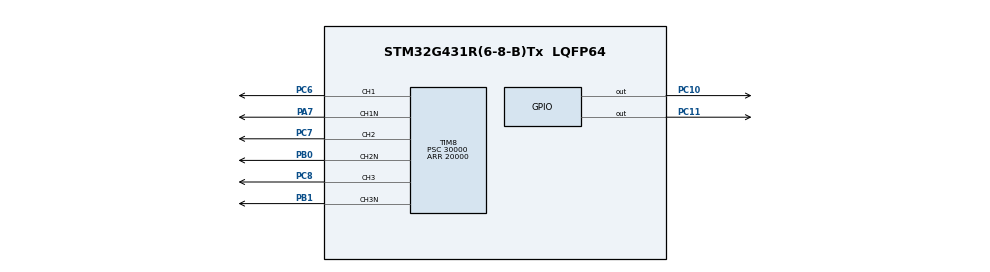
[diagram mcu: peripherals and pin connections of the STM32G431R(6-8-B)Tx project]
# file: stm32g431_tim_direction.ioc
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Dma.Request0=TIM8_CH4
Dma.TIM8_CH4.0.Direction=DMA_MEMORY_TO_PERIPH
Dma.TIM8_CH4.0.EventEnable=DISABLE
Dma.TIM8_CH4.0.Instance=DMA1_Channel1
Dma.TIM8_CH4.0.MemDataAlignment=DMA_MDATAALIGN_HALFWORD
Dma.TIM8_CH4.0.MemInc=DMA_MINC_ENABLE
Dma.TIM8_CH4.0.Mode=DMA_CIRCULAR
Dma.TIM8_CH4.0.PeriphDataAlignment=DMA_PDATAALIGN_HALFWORD
Dma.TIM8_CH4.0.PeriphInc=DMA_PINC_DISABLE
Dma.TIM8_CH4.0.Polarity=HAL_DMAMUX_REQ_GEN_RISING
Dma.TIM8_CH4.0.Priority=DMA_PRIORITY_LOW
Dma.TIM8_CH4.0.RequestNumber=1
Dma.TIM8_CH4.0.SignalID=NONE
Dma.TIM8_CH4.0.SyncEnable=DISABLE
Dma.TIM8_CH4.0.SyncPolarity=HAL_DMAMUX_SYNC_NO_EVENT
Dma.TIM8_CH4.0.SyncRequestNumber=1
Dma.TIM8_CH4.0.SyncSignalID=NONE
Mcu.Family=STM32G4
Mcu.Name=STM32G431R(6-8-B)Tx
Mcu.Package=LQFP64
NVIC.DMA1_Channel1_IRQn=true\:0\:0\:false\:false\:true\:false\:true
NVIC.PriorityGroup=NVIC_PRIORITYGROUP_4
NVIC.TIM8_CC_IRQn=true\:0\:0\:false\:false\:true\:true\:true
NVIC.TIM8_UP_IRQn=true\:0\:0\:false\:false\:true\:true\:true
PA7.Mode=PWM Generation1 CH1 CH1N
PA7.Signal=TIM8_CH1N
PB0.Mode=PWM Generation2 CH2 CH2N
PB0.Signal=TIM8_CH2N
PB1.Mode=PWM Generation3 CH3 CH3N
PB1.Signal=TIM8_CH3N
PC10.GPIO_Speed=GPIO_SPEED_FREQ_VERY_HIGH
PC10.Signal=GPIO_Output
PC11.GPIO_Speed=GPIO_SPEED_FREQ_VERY_HIGH
PC11.Signal=GPIO_Output
PC6.Signal=S_TIM8_CH1
PC7.Signal=S_TIM8_CH2
PC8.Signal=S_TIM8_CH3
ProjectManager.HeapSize=0x200
ProjectManager.StackSize=0x400
ProjectManager.TargetToolchain=MDK-ARM V5
RCC.ADC12Freq_Value=170000000
RCC.AHBFreq_Value=170000000
RCC.APB1Freq_Value=170000000
RCC.APB1TimFreq_Value=170000000
RCC.APB2Freq_Value=170000000
RCC.APB2TimFreq_Value=170000000
RCC.CortexFreq_Value=170000000
RCC.EXTERNAL_CLOCK_VALUE=12288000
RCC.HCLKFreq_Value=170000000
RCC.HSE_VALUE=8000000
RCC.HSI48_VALUE=48000000
RCC.HSI_VALUE=16000000
RCC.LSE_VALUE=32768
RCC.PLLM=RCC_PLLM_DIV4
RCC.PLLN=85
RCC.SYSCLKFreq_VALUE=170000000
RCC.SYSCLKSource=RCC_SYSCLKSOURCE_PLLCLK
RCC.USBFreq_Value=170000000
RCC.VCOOutputFreq_Value=340000000
SH.S_TIM8_CH1.0=TIM8_CH1,PWM Generation1 CH1 CH1N
SH.S_TIM8_CH2.0=TIM8_CH2,PWM Generation2 CH2 CH2N
SH.S_TIM8_CH3.0=TIM8_CH3,PWM Generation3 CH3 CH3N
TIM2.CounterMode=TIM_COUNTERMODE_CENTERALIGNED1
TIM2.PeriodNoDither=20000
TIM2.Prescaler=60000
TIM2.TIM_MasterOutputTrigger=TIM_TRGO_UPDATE
TIM2.TIM_MasterSlaveMode=TIM_MASTERSLAVEMODE_ENABLE
TIM8.AutoReloadPreload=TIM_AUTORELOAD_PRELOAD_ENABLE
TIM8.Channel-PWM\ Generation1\ CH1\ CH1N=TIM_CHANNEL_1
TIM8.Channel-PWM\ Generation2\ CH2\ CH2N=TIM_CHANNEL_2
TIM8.Channel-PWM\ Generation3\ CH3\ CH3N=TIM_CHANNEL_3
TIM8.Channel-PWM\ Generation4\ No\ Output=TIM_CHANNEL_4
TIM8.Channel-PWM\ Generation5\ No\ Output=TIM_CHANNEL_5
TIM8.Channel-PWM\ Generation6\ No\ Output=TIM_CHANNEL_6
TIM8.CounterMode=TIM_COUNTERMODE_CENTERALIGNED2
TIM8.PeriodNoDither=20000
TIM8.Prescaler=30000
TIM8.PulseNoDither_1=10000
TIM8.PulseNoDither_2=10000
TIM8.PulseNoDither_3=10000
TIM8.PulseNoDither_4=0
TIM8.TIM_MasterSlaveMode=TIM_MASTERSLAVEMODE_ENABLE
VP_SYS_VS_DBSignals.Mode=DisableDeadBatterySignals
VP_TIM2_VS_ClockSourceINT.Mode=Internal
VP_TIM8_VS_ClockSourceITR.Mode=TriggerSource_ITR1
VP_TIM8_VS_ControllerModeTrigger.Mode=Trigger Mode
VP_TIM8_VS_no_output4.Mode=PWM Generation4 No Output
VP_TIM8_VS_no_output5.Mode=PWM Generation5 No Output
VP_TIM8_VS_no_output6.Mode=PWM Generation6 No Output
board=custom

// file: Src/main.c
/* USER CODE BEGIN Header */
/**
  ******************************************************************************
  * @file           : main.c
  * @brief          : Main program body
  ******************************************************************************
  * @attention
  *
  * <h2><center>&copy; Copyright (c) 2020 STMicroelectronics.
  * All rights reserved.</center></h2>
  *
  * This software component is licensed by ST under BSD 3-Clause license,
  * the "License"; You may not use this file except in compliance with the
  * License. You may obtain a copy of the License at:
  *                        opensource.org/licenses/BSD-3-Clause
  *
  ******************************************************************************
  */
/* USER CODE END Header */

#include "main.h"
#include "dma.h"
#include "tim.h"
#include "gpio.h"

void SystemClock_Config(void);

/* USER CODE BEGIN 0 */
#define USE_PRELOAD
//#define USE_DMA

void Initialize_TIM8(void)
{
		LL_TIM_CC_EnableChannel(TIM8, LL_TIM_CHANNEL_CH1  |
															LL_TIM_CHANNEL_CH1N |
															LL_TIM_CHANNEL_CH2  |
															LL_TIM_CHANNEL_CH2N |
															LL_TIM_CHANNEL_CH3  |
															LL_TIM_CHANNEL_CH3N |
															LL_TIM_CHANNEL_CH4
															);
  LL_TIM_ClearFlag_UPDATE(TIM8);
  LL_TIM_EnableIT_UPDATE(TIM8);
	LL_TIM_EnableIT_CC4(TIM8);
#ifdef USE_PRELOAD
	LL_TIM_CC_EnablePreload(TIM8);
	LL_TIM_CC_SetUpdate(TIM8, LL_TIM_CCUPDATESOURCE_COMG_AND_TRGI);
#endif
  LL_TIM_EnableAutomaticOutput(TIM8);
	LL_TIM_SetCounter(TIM8, 0x0000);

#ifdef USE_DMA
  LL_TIM_EnableCounter(TIM8);
#endif

#ifdef USE_PRELOAD
	LL_TIM_SetCounter(TIM2, 0x0000);
	LL_TIM_ClearFlag_UPDATE(TIM2);
	LL_TIM_EnableCounter(TIM2);
#endif
}

uint32_t gCCER = 0x00001555;

void Initialize_DMA_TIM8(void)
{
  LL_DMA_DisableChannel(DMA1, LL_DMA_CHANNEL_1);
  LL_DMA_ConfigAddresses(DMA1, LL_DMA_CHANNEL_1, (uint32_t)&gCCER, (uint32_t)&TIM8->CCER, LL_DMA_GetDataTransferDirection(DMA1, LL_DMA_CHANNEL_1));
  LL_DMA_SetDataLength(DMA1, LL_DMA_CHANNEL_1, 1);
  LL_DMA_EnableIT_TC(DMA1, LL_DMA_CHANNEL_1);
  LL_DMA_EnableIT_TE(DMA1, LL_DMA_CHANNEL_1);

	LL_TIM_EnableDMAReq_CC4(TIM8);

  /***************************/
  /* Enable the DMA transfer */
  /***************************/
  LL_DMA_EnableChannel(DMA1, LL_DMA_CHANNEL_1);
}
/* USER CODE END 0 */

int main(void)
{

  /* MCU Configuration--------------------------------------------------------*/

  /* Reset of all peripherals, Initializes the Flash interface and the Systick. */
  HAL_Init();

  /* Configure the system clock */
  SystemClock_Config();

  /* Initialize all configured peripherals */
  MX_GPIO_Init();
  MX_DMA_Init();
  MX_TIM8_Init();
#ifdef USE_PRELOAD
  MX_TIM2_Init();
#endif
  /* USER CODE BEGIN 2 */
#ifdef USE_DMA
	Initialize_DMA_TIM8();
#endif
	Initialize_TIM8();

  /* USER CODE END 2 */

  /* Infinite loop */
  while (1)
  {

  }
}

void SystemClock_Config(void)
{
  LL_FLASH_SetLatency(LL_FLASH_LATENCY_8);
  LL_PWR_EnableRange1BoostMode();
  LL_RCC_HSI_Enable();

   /* Wait till HSI is ready */
  while(LL_RCC_HSI_IsReady() != 1)
  {

  }
  LL_RCC_HSI_SetCalibTrimming(64);
  LL_RCC_PLL_ConfigDomain_SYS(LL_RCC_PLLSOURCE_HSI, LL_RCC_PLLM_DIV_4, 85, LL_RCC_PLLR_DIV_2);
  LL_RCC_PLL_EnableDomain_SYS();
  LL_RCC_PLL_Enable();

   /* Wait till PLL is ready */
  while(LL_RCC_PLL_IsReady() != 1)
  {

  }
  LL_RCC_SetSysClkSource(LL_RCC_SYS_CLKSOURCE_PLL);
  LL_RCC_SetAHBPrescaler(LL_RCC_SYSCLK_DIV_2);

   /* Wait till System clock is ready */
  while(LL_RCC_GetSysClkSource() != LL_RCC_SYS_CLKSOURCE_STATUS_PLL)
  {

  }
  /* Insure 1?s transition state at intermediate medium speed clock based on DWT */
  CoreDebug->DEMCR |= CoreDebug_DEMCR_TRCENA_Msk;
  DWT->CTRL |= DWT_CTRL_CYCCNTENA_Msk;
  DWT->CYCCNT = 0;
  while(DWT->CYCCNT < 100);
  /* Set AHB prescaler*/
  LL_RCC_SetAHBPrescaler(LL_RCC_SYSCLK_DIV_1);
  LL_RCC_SetAPB1Prescaler(LL_RCC_APB1_DIV_1);
  LL_RCC_SetAPB2Prescaler(LL_RCC_APB1_DIV_1);
  LL_SetSystemCoreClock(170000000);

   /* Update the time base */
  if (HAL_InitTick (TICK_INT_PRIORITY) != HAL_OK)
  {
    Error_Handler();
  };
}

void Error_Handler(void)
{
}

/************************ (C) COPYRIGHT STMicroelectronics *****END OF FILE****/
